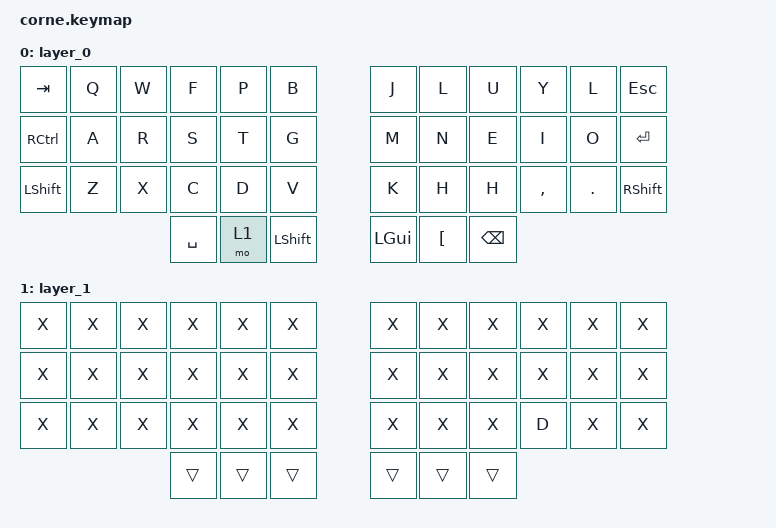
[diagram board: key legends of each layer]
/*
 * Copyright (c) 2020 The ZMK Contributors
 *
 * SPDX-License-Identifier: MIT
 */

#include <behaviors.dtsi>
#include <dt-bindings/zmk/keys.h>

/ {
    keymap {
        compatible = "zmk,keymap";

        layer_0 {
            bindings = <
&kp TAB    &kp Q  &kp W  &kp F      &kp P  &kp B        &kp J     &kp L     &kp U     &kp Y      &kp L    &kp ESC
&kp RCTRL  &kp A  &kp R  &kp S      &kp T  &kp G        &kp M     &kp N     &kp E     &kp I      &kp O    &kp ENTER
&kp LSHFT  &kp Z  &kp X  &kp C      &kp D  &kp V        &kp K     &kp H     &kp H     &kp COMMA  &kp DOT  &kp RSHFT
                         &kp SPACE  &mo 1  &kp LSHFT    &kp LGUI  &kp LBKT  &kp BSPC
            >;
        };

        layer_1 {
            bindings = <
&kp X  &kp X  &kp X  &kp X   &kp X   &kp X     &kp X   &kp X   &kp X   &kp X  &kp X  &kp X
&kp X  &kp X  &kp X  &kp X   &kp X   &kp X     &kp X   &kp X   &kp X   &kp X  &kp X  &kp X
&kp X  &kp X  &kp X  &kp X   &kp X   &kp X     &kp X   &kp X   &kp X   &kp D  &kp X  &kp X
                     &trans  &trans  &trans    &trans  &trans  &trans
            >;
        };
    };
};
